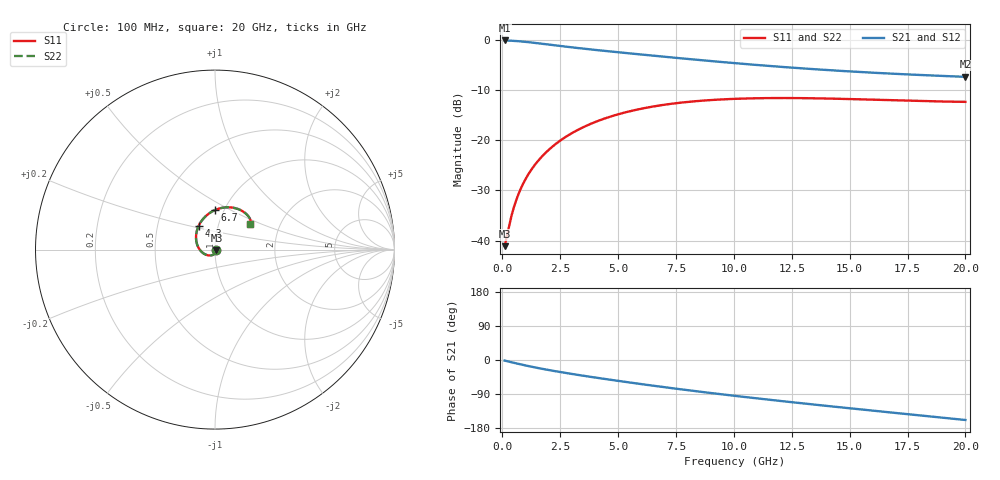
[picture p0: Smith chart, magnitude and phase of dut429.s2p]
! Touchstone file exported from HFSS 2024.1.0
!  File:  C:/UserFiles/LocalFiles/RDL_TSV_Batchsim/temp_RDL_TSV_429_1779719426.aedt
!  Generated:  10:47:03 PM May 25, 2026
!  Design:  RDL_TSV
!  Project:  temp_RDL_TSV_429_1779719426
!  Setup:  Setup1
!  Solution:  Sweep
! Variables:
!  dtsv = 10.49um
!  hbump = 3um
!  htsv = 77.13um
!  ldown = 109.1um
!  lrdl = 465.65um
!  p = 40
!  p1 = 50.82um
!  rhole = 10um
!  subl = 2189.9um
!  t = 450um
!  tdown = 2.22um
!  trdl = 4.4um
!  viad = 10um
!  wdown = 28.51um
!  wrdl = 29.96um
!  xbump = 18um
# GHz S MA R 50.000000
! Terminal data exported
! Port[1] = TM1_1_T1
! Port[2] = TM1_4_T1
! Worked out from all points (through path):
!   200 points, 100 MHz to 20 GHz, reference 50 ohm
!   highest |S21| = -0.07 dB at 100 MHz (marker M1); lowest = -7.3 dB at 20 GHz (marker M2)
!   group delay of S21, straight-line fit = 20.8 ps
!   lowest |S11| = -41.1 dB at 100 MHz (marker M3), VSWR 1.02, Z = 50.8 - j0.411 ohm
!   |S11| at or under -10 dB: start of sweep to end of sweep
!   |S22| runs from -41.1 to -11.6 dB; largest |S21 - S12| = 2.9e-14
!   S11 on the Smith chart (normalised r, x): 100 MHz: 1.02, -0.01; 4.3 GHz: 0.81, +0.22; 6.7 GHz: 0.91, +0.42; 20 GHz: 1.42, +0.42
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0.1  0.008783 -27.4  0.9914 -1.5  0.9914 -1.5  0.008783 -27.4
! Gamma 0 0 0 0
! Port Impedance 50 0 50 0
0.3  0.01425 -66.4  0.9876 -4.5  0.9876 -4.5  0.01425 -66.4
0.4  0.01775 -79.4  0.985 -6.0  0.985 -6.0  0.01775 -79.4
0.6  0.02523 -99.0  0.9784 -8.8  0.9784 -8.8  0.02523 -99.0
0.7  0.02908 -107.0  0.9744 -10.3  0.9744 -10.3  0.02908 -107.0
0.9  0.03689 -120.9  0.9654 -13.0  0.9654 -13.0  0.0369 -120.9
1.2  0.04872 -138.5  0.9495 -16.9  0.9495 -16.9  0.04872 -138.5
1.7  0.06842 -162.6  0.9201 -23.1  0.9201 -23.1  0.06843 -162.6
2.2  0.08783 177.9  0.8903 -28.6  0.8903 -28.6  0.08784 177.8
2.8  0.1104 158.7  0.8568 -34.8  0.8568 -34.8  0.1104 158.7
3.5  0.1353 140.6  0.8215 -41.6  0.8215 -41.6  0.1353 140.6
4.3  0.1613 124.1  0.7853 -48.9  0.7853 -48.9  0.1613 124.1
5.5  0.1947 104.7  0.7366 -59.4  0.7366 -59.4  0.1948 104.7
6.7  0.221 89.6  0.6923 -69.3  0.6923 -69.3  0.221 89.6
6.8  0.2228 88.5  0.6888 -70.1  0.6888 -70.1  0.2229 88.5
8.5  0.2473 72.4  0.6329 -83.4  0.6329 -83.4  0.2474 72.4
10.1  0.2596 60.9  0.5871 -95.0  0.5871 -95.0  0.2597 60.9
11.7  0.264 52.0  0.5481 -106.0  0.5481 -106.0  0.2641 52.0
13.4  0.2627 45.0  0.5136 -117.2  0.5136 -117.2  0.2628 45.0
15  0.258 40.3  0.487 -127.4  0.487 -127.4  0.2581 40.3
16.7  0.2515 37.1  0.4637 -138.0  0.4637 -138.0  0.2516 37.1
20  0.2418 35.4  0.4299 -158.3  0.4299 -158.3  0.2419 35.4
